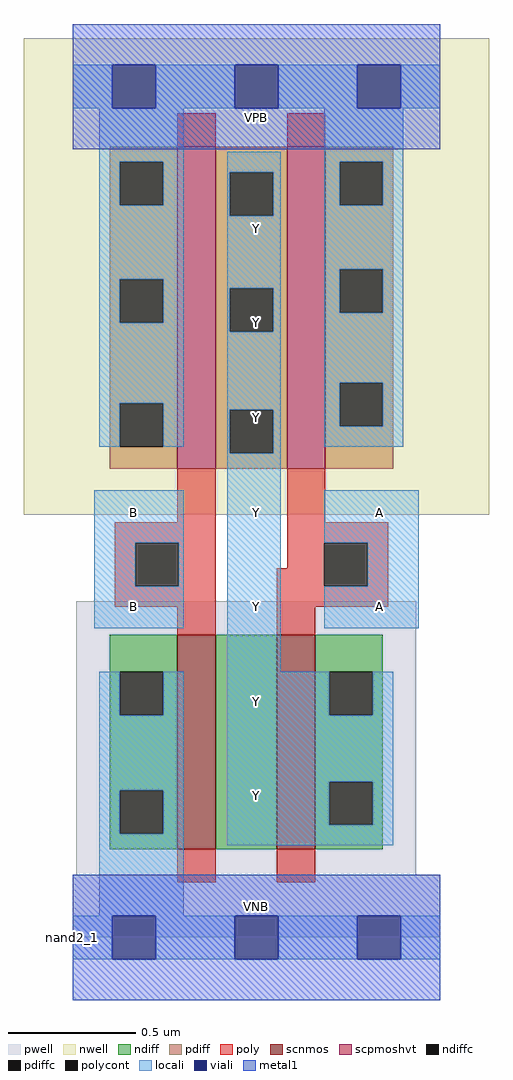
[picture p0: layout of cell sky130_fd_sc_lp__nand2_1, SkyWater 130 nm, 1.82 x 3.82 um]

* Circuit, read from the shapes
.subckt sky130_fd_sc_lp__nand2_1 A B VGND VNB VPB VPWR Y
XM1 n1 B VGND VNB sky130_fd_pr__nfet_01v8 w=0.84 l=0.15
XM2 Y A n1 VNB sky130_fd_pr__nfet_01v8 w=0.84 l=0.15
XM3 Y B VPWR VPB sky130_fd_pr__pfet_01v8_hvt w=1.26 l=0.15
XM4 VPWR A Y VPB sky130_fd_pr__pfet_01v8_hvt w=1.26 l=0.15
.ends

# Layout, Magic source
magic
tech sky130A
magscale 1 2
<< nwell >>
rect -38 331 326 704
<< pwell >>
rect 3 49 269 263
rect 0 0 288 49
<< scnmos >>
rect 82 69 112 237
rect 160 69 190 237
<< scpmoshvt >>
rect 82 367 112 619
rect 168 367 198 619
<< ndiff >>
rect 29 208 82 237
rect 29 174 37 208
rect 71 174 82 208
rect 29 115 82 174
rect 29 81 37 115
rect 71 81 82 115
rect 29 69 82 81
rect 112 69 160 237
rect 190 208 243 237
rect 190 174 201 208
rect 235 174 243 208
rect 190 122 243 174
rect 190 88 201 122
rect 235 88 243 122
rect 190 69 243 88
<< pdiff >>
rect 29 607 82 619
rect 29 573 37 607
rect 71 573 82 607
rect 29 515 82 573
rect 29 481 37 515
rect 71 481 82 515
rect 29 418 82 481
rect 29 384 37 418
rect 71 384 82 418
rect 29 367 82 384
rect 112 599 168 619
rect 112 565 123 599
rect 157 565 168 599
rect 112 508 168 565
rect 112 474 123 508
rect 157 474 168 508
rect 112 413 168 474
rect 112 379 123 413
rect 157 379 168 413
rect 112 367 168 379
rect 198 607 251 619
rect 198 573 209 607
rect 243 573 251 607
rect 198 523 251 573
rect 198 489 209 523
rect 243 489 251 523
rect 198 434 251 489
rect 198 400 209 434
rect 243 400 251 434
rect 198 367 251 400
<< ndiffc >>
rect 37 174 71 208
rect 37 81 71 115
rect 201 174 235 208
rect 201 88 235 122
<< pdiffc >>
rect 37 573 71 607
rect 37 481 71 515
rect 37 384 71 418
rect 123 565 157 599
rect 123 474 157 508
rect 123 379 157 413
rect 209 573 243 607
rect 209 489 243 523
rect 209 400 243 434
<< poly >>
rect 82 619 112 645
rect 168 619 198 645
rect 82 325 112 367
rect 33 309 112 325
rect 33 275 49 309
rect 83 275 112 309
rect 168 325 198 367
rect 168 309 247 325
rect 168 289 197 309
rect 33 259 112 275
rect 82 237 112 259
rect 160 275 197 289
rect 231 275 247 309
rect 160 259 247 275
rect 160 237 190 259
rect 82 43 112 69
rect 160 43 190 69
<< polycont >>
rect 49 275 83 309
rect 197 275 231 309
<< locali >>
rect 0 649 31 683
rect 65 649 127 683
rect 161 649 223 683
rect 257 649 288 683
rect 21 607 87 649
rect 21 573 37 607
rect 71 573 87 607
rect 21 515 87 573
rect 21 481 37 515
rect 71 481 87 515
rect 21 418 87 481
rect 21 384 37 418
rect 71 384 87 418
rect 121 599 163 615
rect 121 565 123 599
rect 157 565 163 599
rect 121 508 163 565
rect 121 474 123 508
rect 157 474 163 508
rect 121 413 163 474
rect 121 379 123 413
rect 157 379 163 413
rect 197 607 259 649
rect 197 573 209 607
rect 243 573 259 607
rect 197 523 259 573
rect 197 489 209 523
rect 243 489 259 523
rect 197 434 259 489
rect 197 400 209 434
rect 243 400 259 434
rect 197 384 259 400
rect 17 309 87 350
rect 17 275 49 309
rect 83 275 87 309
rect 17 242 87 275
rect 121 208 163 379
rect 197 309 271 350
rect 231 275 271 309
rect 197 242 271 275
rect 21 174 37 208
rect 71 174 87 208
rect 21 115 87 174
rect 21 81 37 115
rect 71 81 87 115
rect 21 17 87 81
rect 121 174 201 208
rect 235 174 251 208
rect 121 122 251 174
rect 121 88 201 122
rect 235 88 251 122
rect 121 72 251 88
rect 0 -17 31 17
rect 65 -17 127 17
rect 161 -17 223 17
rect 257 -17 288 17
<< viali >>
rect 31 649 65 683
rect 127 649 161 683
rect 223 649 257 683
rect 31 -17 65 17
rect 127 -17 161 17
rect 223 -17 257 17
<< metal1 >>
rect 0 683 288 715
rect 0 649 31 683
rect 65 649 127 683
rect 161 649 223 683
rect 257 649 288 683
rect 0 617 288 649
rect 0 17 288 49
rect 0 -17 31 17
rect 65 -17 127 17
rect 161 -17 223 17
rect 257 -17 288 17
rect 0 -49 288 -17
<< labels >>
flabel pwell s 0 0 288 49 0 FreeSans 200 0 0 0 VNB
port 4 nsew ground bidirectional
flabel nwell s 0 617 288 666 0 FreeSans 200 0 0 0 VPB
port 5 nsew power bidirectional
rlabel comment s 0 0 0 0 4 nand2_1
flabel metal1 s 0 617 288 666 0 FreeSans 340 0 0 0 VPWR
port 6 nsew power bidirectional
flabel metal1 s 0 0 288 49 0 FreeSans 340 0 0 0 VGND
port 3 nsew ground bidirectional
flabel locali s 223 242 257 276 0 FreeSans 340 0 0 0 A
port 1 nsew signal input
flabel locali s 223 316 257 350 0 FreeSans 340 0 0 0 A
port 1 nsew signal input
flabel locali s 127 94 161 128 0 FreeSans 340 0 0 0 Y
port 7 nsew signal output
flabel locali s 127 168 161 202 0 FreeSans 340 0 0 0 Y
port 7 nsew signal output
flabel locali s 127 242 161 276 0 FreeSans 340 0 0 0 Y
port 7 nsew signal output
flabel locali s 127 316 161 350 0 FreeSans 340 0 0 0 Y
port 7 nsew signal output
flabel locali s 127 390 161 424 0 FreeSans 340 0 0 0 Y
port 7 nsew signal output
flabel locali s 127 464 161 498 0 FreeSans 340 0 0 0 Y
port 7 nsew signal output
flabel locali s 127 538 161 572 0 FreeSans 340 0 0 0 Y
port 7 nsew signal output
flabel locali s 31 242 65 276 0 FreeSans 340 0 0 0 B
port 2 nsew signal input
flabel locali s 31 316 65 350 0 FreeSans 340 0 0 0 B
port 2 nsew signal input
<< properties >>
string LEFsite unit
string LEFclass CORE
string FIXED_BBOX 0 0 288 666
string GDS_FILE $PDKPATH/libs.ref/sky130_fd_sc_lp/gds/sky130_fd_sc_lp.gds
string LEFsymmetry X Y R90
string GDS_END 5696964
string GDS_START 5692300
<< end >>
